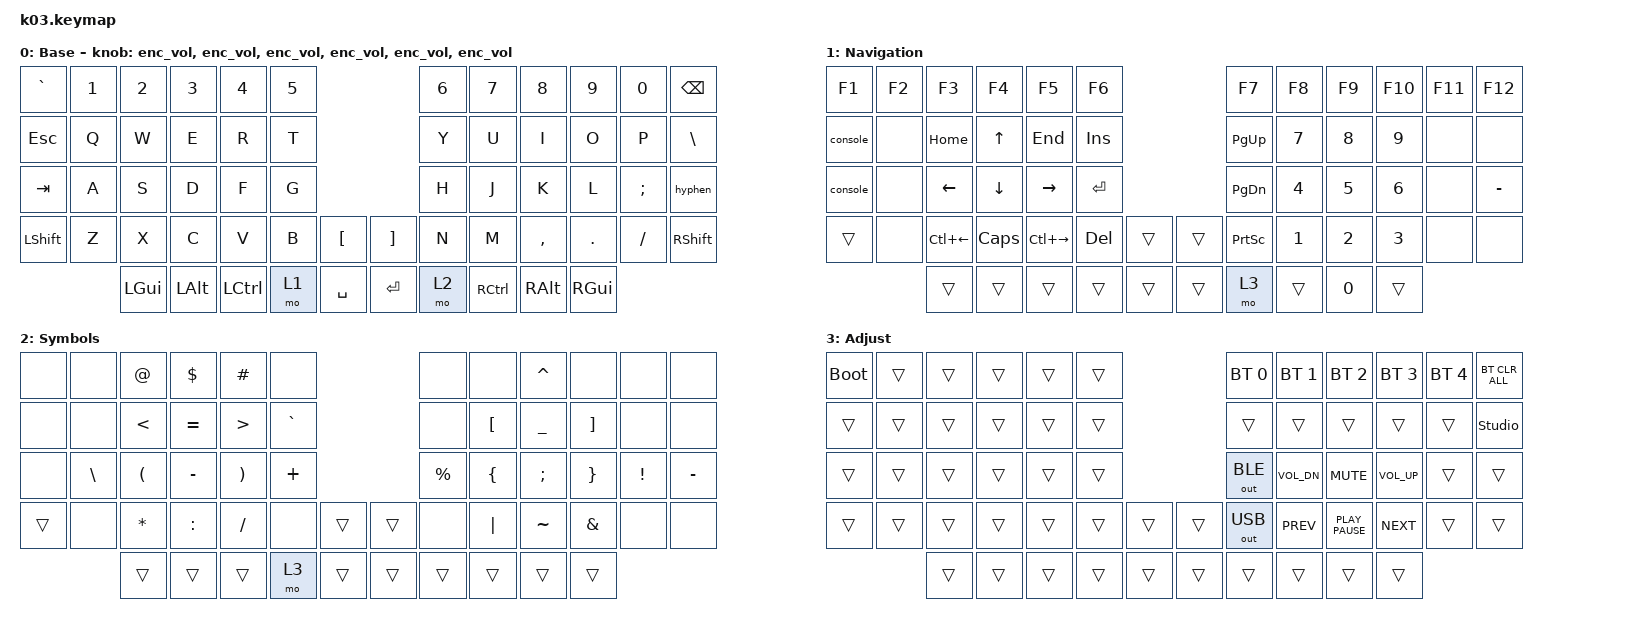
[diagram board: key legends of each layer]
#include "keys_ru.h"
#include <behaviors.dtsi>
#include <dt-bindings/zmk/bt.h>
#include <dt-bindings/zmk/keys.h>
#include <dt-bindings/zmk/outputs.h>

/ {
    behaviors {
        enc_vol: enc_vol {
            compatible = "zmk,behavior-sensor-rotate";
            label = "ENC_VOL";
            #sensor-binding-cells = <0>;
            bindings = <&kp C_VOL_UP>, <&kp C_VOL_DN>;
        };

        caps: caps {
            compatible = "zmk,behavior-hold-tap";
            label = "CAPS";
            bindings = <&kp>, <&kp>;

            #binding-cells = <2>;
            tapping-term-ms = <200>;
            hold-trigger-key-positions = <36>;
        };

        hyphen: hyphen {
            compatible = "zmk,behavior-tap-dance";
            label = "HYPHEN";
            #binding-cells = <0>;
            bindings = <&kp SQT>, <&kp MINUS>;
        };
    };

    macros {
        console: console {
            compatible = "zmk,behavior-macro";
            #binding-cells = <0>;
            bindings = <&kp LS(LC(ESC))>;
            label = "CONSOLE";
        };
    };

    keymap {
        compatible = "zmk,keymap";

        base {
            bindings = <
&kp GRAVE  &kp N1  &kp N2    &kp N3    &kp N4     &kp N5                          &kp N6  &kp N7     &kp N8     &kp N9    &kp N0    &kp BSPC
&kp ESC    &kp Q   &kp W     &kp E     &kp R      &kp T                           &kp Y   &kp U      &kp I      &kp O     &kp P     &kp BSLH
&kp TAB    &kp A   &kp S     &kp D     &kp F      &kp G                           &kp H   &kp J      &kp K      &kp L     &kp SEMI  &hyphen
&kp LSHFT  &kp Z   &kp X     &kp C     &kp V      &kp B   &kp LBKT     &kp RBKT   &kp N   &kp M      &kp COMMA  &kp DOT   &kp FSLH  &kp RSHFT
                   &kp LGUI  &kp LALT  &kp LCTRL  &mo 1   &kp SPACE    &kp ENTER  &mo 2   &kp RCTRL  &kp RALT   &kp RGUI
            >;

            display-name = "Base";
            sensor-bindings =
                <&enc_vol>,
                <&enc_vol>,
                <&enc_vol>,
                <&enc_vol>,
                <&enc_vol>,
                <&enc_vol>;
        };

        nav {
            bindings = <
&kp F1    &kp F2  &kp F3        &kp F4    &kp F5         &kp F6                     &kp F7           &kp F8  &kp F9  &kp F10  &kp F11  &kp F12
&console  &none   &kp HOME      &kp UP    &kp END        &kp INS                    &kp PG_UP        &kp N7  &kp N8  &kp N9   &none    &none
&console  &none   &kp LEFT      &kp DOWN  &kp RIGHT      &kp RET                    &kp PG_DN        &kp N4  &kp N5  &kp N6   &none    &kp MINUS
&trans    &none   &kp LC(LEFT)  &kp CAPS  &kp LC(RIGHT)  &kp DEL  &trans    &trans  &kp PRINTSCREEN  &kp N1  &kp N2  &kp N3   &none    &none
                  &trans        &trans    &trans         &trans   &trans    &trans  &mo 3            &trans  &kp N0  &trans
            >;

            display-name = "Navigation";
        };

        sym {
            bindings = <
&none   &none     &kp AT    &kp DLLR   &kp HASH  &none                        &none      &none     &kp CARET  &none     &none     &none
&none   &none     &kp LT    &kp EQUAL  &kp GT    &kp GRAVE                    &none      &kp LBKT  &kp UNDER  &kp RBKT  &none     &none
&none   &kp BSLH  &kp LPAR  &kp MINUS  &kp RPAR  &kp PLUS                     &kp PRCNT  &kp LBRC  &kp SEMI   &kp RBRC  &kp EXCL  &kp MINUS
&trans  &none     &kp STAR  &kp COLON  &kp FSLH  &none      &trans    &trans  &none      &kp PIPE  &kp TILDE  &kp AMPS  &none     &none
                  &trans    &trans     &trans    &mo 3      &trans    &trans  &trans     &trans    &trans     &trans
            >;

            display-name = "Symbols";
        };

        adj {
            bindings = <
&bootloader  &trans  &trans  &trans  &trans  &trans                    &bt BT_SEL 0  &bt BT_SEL 1  &bt BT_SEL 2      &bt BT_SEL 3  &bt BT_SEL 4  &bt BT_CLR_ALL
&trans       &trans  &trans  &trans  &trans  &trans                    &trans        &trans        &trans            &trans        &trans        &studio_unlock
&trans       &trans  &trans  &trans  &trans  &trans                    &out OUT_BLE  &kp C_VOL_DN  &kp K_MUTE        &kp C_VOL_UP  &trans        &trans
&trans       &trans  &trans  &trans  &trans  &trans  &trans    &trans  &out OUT_USB  &kp K_PREV    &kp K_PLAY_PAUSE  &kp K_NEXT    &trans        &trans
                     &trans  &trans  &trans  &trans  &trans    &trans  &trans        &trans        &trans            &trans
            >;

            display-name = "Adjust";
        };
    };
};
